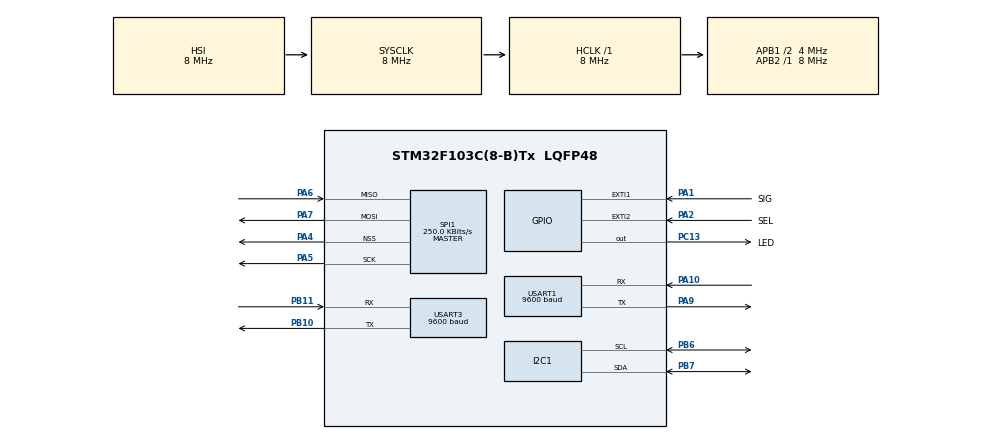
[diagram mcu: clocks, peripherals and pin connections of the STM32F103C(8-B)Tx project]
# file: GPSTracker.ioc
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Dma.Request0=USART1_RX
Dma.USART1_RX.0.Direction=DMA_PERIPH_TO_MEMORY
Dma.USART1_RX.0.Instance=DMA1_Channel5
Dma.USART1_RX.0.MemDataAlignment=DMA_MDATAALIGN_BYTE
Dma.USART1_RX.0.MemInc=DMA_MINC_ENABLE
Dma.USART1_RX.0.Mode=DMA_NORMAL
Dma.USART1_RX.0.PeriphDataAlignment=DMA_PDATAALIGN_BYTE
Dma.USART1_RX.0.PeriphInc=DMA_PINC_DISABLE
Dma.USART1_RX.0.Priority=DMA_PRIORITY_HIGH
FATFS._MAX_SS=4096
FATFS._USE_LFN=1
I2C1.I2C_Mode=I2C_Fast
Mcu.Family=STM32F1
Mcu.Name=STM32F103C(8-B)Tx
Mcu.Package=LQFP48
NVIC.DMA1_Channel5_IRQn=true\:0\:0\:false\:false\:true\:false\:true\:true
NVIC.EXTI1_IRQn=true\:1\:0\:true\:false\:true\:true\:true\:true
NVIC.EXTI2_IRQn=true\:1\:0\:true\:false\:true\:true\:true\:true
NVIC.PriorityGroup=NVIC_PRIORITYGROUP_4
NVIC.TIM3_IRQn=true\:0\:0\:true\:false\:true\:true\:true\:true
NVIC.USART1_IRQn=true\:0\:0\:false\:false\:true\:true\:true\:true
PA1.GPIO_Label=SIG
PA1.GPIO_ModeDefaultEXTI=GPIO_MODE_IT_RISING_FALLING
PA1.GPIO_PuPd=GPIO_NOPULL
PA1.Signal=GPXTI1
PA10.Mode=Asynchronous
PA10.Signal=USART1_RX
PA13.Mode=Serial_Wire
PA13.Signal=SYS_JTMS-SWDIO
PA14.Mode=Serial_Wire
PA14.Signal=SYS_JTCK-SWCLK
PA2.GPIO_Label=SEL
PA2.GPIO_ModeDefaultEXTI=GPIO_MODE_IT_RISING_FALLING
PA2.GPIO_PuPd=GPIO_NOPULL
PA2.Signal=GPXTI2
PA4.Mode=NSS_Signal_Hard_Output
PA4.Signal=SPI1_NSS
PA5.Mode=Full_Duplex_Master
PA5.Signal=SPI1_SCK
PA6.Mode=Full_Duplex_Master
PA6.Signal=SPI1_MISO
PA7.Mode=Full_Duplex_Master
PA7.Signal=SPI1_MOSI
PA9.Mode=Asynchronous
PA9.Signal=USART1_TX
PB10.Mode=Asynchronous
PB10.Signal=USART3_TX
PB11.Mode=Asynchronous
PB11.Signal=USART3_RX
PB6.GPIO_Pu=GPIO_PULLUP
PB6.Mode=I2C
PB6.Signal=I2C1_SCL
PB7.GPIO_Pu=GPIO_PULLUP
PB7.Mode=I2C
PB7.Signal=I2C1_SDA
PC13-TAMPER-RTC.GPIO_Label=LED
PC13-TAMPER-RTC.PinState=GPIO_PIN_SET
PC13-TAMPER-RTC.Signal=GPIO_Output
ProjectManager.HeapSize=0x200
ProjectManager.StackSize=0x400
ProjectManager.TargetToolchain=STM32CubeIDE
RCC.AHBFreq_Value=8000000
RCC.APB1CLKDivider=RCC_HCLK_DIV2
RCC.APB1Freq_Value=4000000
RCC.APB1TimFreq_Value=8000000
RCC.APB2Freq_Value=8000000
RCC.APB2TimFreq_Value=8000000
RCC.HCLKFreq_Value=8000000
RCC.PLLMUL=RCC_PLL_MUL9
RCC.SYSCLKFreq_VALUE=8000000
RCC.USBFreq_Value=36000000
RTC.Format=RTC_FORMAT_BIN
RTC.WeekDay=RTC_WEEKDAY_FRIDAY
RTC.Year=21
SPI1.BaudRatePrescaler=SPI_BAUDRATEPRESCALER_32
SPI1.CalculateBaudRate=250.0 KBits/s
SPI1.Direction=SPI_DIRECTION_2LINES
SPI1.Mode=SPI_MODE_MASTER
SPI1.VirtualNSS=VM_NSSHARD
SPI1.VirtualType=VM_MASTER
TIM3.AutoReloadPreload=TIM_AUTORELOAD_PRELOAD_ENABLE
TIM3.Period=1000
TIM3.Prescaler=10000
USART1.BaudRate=9600
USART1.VirtualMode=VM_ASYNC
USART3.BaudRate=9600
USART3.VirtualMode=VM_ASYNC
VP_FATFS_VS_Generic.Mode=User_defined
VP_RTC_No_RTC_Output.Mode=RTC_OUT_NO
VP_RTC_VS_RTC_Activate.Mode=RTC_Enabled
VP_RTC_VS_RTC_Calendar.Mode=RTC_Calendar
VP_TIM3_VS_ClockSourceINT.Mode=Internal
board=custom

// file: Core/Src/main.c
/* USER CODE BEGIN Header */
/**
  ******************************************************************************
  * @file           : main.c
  * @brief          : Main program body
  ******************************************************************************
  * @attention
  *
  * <h2><center>&copy; Copyright (c) 2021 STMicroelectronics.
  * All rights reserved.</center></h2>
  *
  * This software component is licensed by ST under Ultimate Liberty license
  * SLA0044, the "License"; You may not use this file except in compliance with
  * the License. You may obtain a copy of the License at:
  *                             www.st.com/SLA0044
  *
  ******************************************************************************
  */
/* USER CODE END Header */
#include "main.h"
#include "fatfs.h"

/* USER CODE BEGIN Includes */
#include "GPS/GPSmodel.h"
#include "GPS/GPScontroller.h"
#include "oled/Screens.h"

//#include "fatfs_sd.h"
//#include "SDlogging.h"

#include <string.h>
#include <stdlib.h>
#include <stdio.h>
/* USER CODE END Includes */

/* USER CODE BEGIN PD */
#define UART1 &huart1
#define I2C_ADDRESS 0x3C
#define LONG_TIME_PRESS 3000

#define SIG_BUTTON 1U
#define SEL_BUTTON 2U
//#undef DEBUG
/* USER CODE END PD */

 I2C_HandleTypeDef hi2c1;

RTC_HandleTypeDef hrtc;

SPI_HandleTypeDef hspi1;

TIM_HandleTypeDef htim3;

UART_HandleTypeDef huart1;
UART_HandleTypeDef huart3;
DMA_HandleTypeDef hdma_usart1_rx;

/* USER CODE BEGIN PV */
/*struct Stat {
    uint8_t powerSave : 1;
    uint8_t number : 3;
    uint8_t time_updated : 1;
	uint8_t date_updated : 1;
	uint8_t GPSupdated : 1;
	uint8_t button_pressed : 1;
}Status;*/

volatile uint8_t usart_rx_dma_buffer[MAX_NMEA_LEN];
uint8_t copy_buffer[MAX_NMEA_LEN];
volatile uint32_t timePress;

uint8_t recording = 0;
uint8_t new_data = 0;
uint16_t new_data_size = 0;
uint8_t screen_number;
uint8_t GPSupdated = 0;
uint8_t screen_power = 0;
uint8_t button_pressed=0;
uint8_t refresh_screen =1;

//u8x8_t u8x8;                    // u8x8 object
u8g2_t u8g2;
GPSdata gps;
/* USER CODE END PV */

void SystemClock_Config(void);
static void MX_GPIO_Init(void);
static void MX_DMA_Init(void);
static void MX_I2C1_Init(void);
static void MX_USART1_UART_Init(void);
static void MX_RTC_Init(void);
static void MX_SPI1_Init(void);
static void MX_USART3_UART_Init(void);
static void MX_TIM3_Init(void);

/* USER CODE BEGIN 0 */

void start_recording( )
{
#ifdef DEBUG
	HAL_UART_Transmit(&huart3, (uint8_t *)"***recording***\r\n",
						strlen("***recording***\r\n"),1000);
#endif
	recording = 1;
	/* when it's recording only wakes up for
	 * saving data
	 */
	screen_power = 1;
	u8g2_SetPowerSave(&u8g2, screen_power);
	HAL_TIM_Base_Stop_IT(&htim3);
	//HAL_PWR_EnableSleepOnExit ();
	//HAL_PWR_EnterSLEEPMode(PWR_LOWPOWERREGULATOR_ON, PWR_SLEEPENTRY_WFI);
}

void stop_recording( )
{
#ifdef DEBUG
	HAL_UART_Transmit(&huart3, (uint8_t *)"***notrecording***\r\n",
						strlen("***notrecording***\r\n"),1000);
#endif
	recording = 0;
	/* when it's recording only wakes up for
	 * saving data
	 */
	screen_power = 0;
	u8g2_SetPowerSave(&u8g2, screen_power);
	HAL_TIM_Base_Start_IT(&htim3);
}

/* TIM IT handler*/
void HAL_TIM_PeriodElapsedCallback(TIM_HandleTypeDef *htim)
{
#ifdef DEBUG
	HAL_UART_Transmit(&huart3, (uint8_t *)"***ENTER TIM***\r\n",
						strlen("***ENTER TIM***\r\n"),1000);
#endif

	refresh_screen = 1;
#ifdef DEBUG
	HAL_UART_Transmit(&huart3, (uint8_t *)"***EXIT TIM***\r\n\r\n",
						strlen("***EXIT TIM***\r\n\r\n"),1000);
#endif
}

void HAL_UARTEx_RxEventCallback(UART_HandleTypeDef *huart, uint16_t Size)
{
	if (huart->Instance == USART1)
	{

#ifdef DEBUG
	HAL_UART_Transmit(&huart3, (uint8_t *)"***ENTER IT_RXIDLE***\r\n",
						strlen("***ENTER IT_RXIDLE***\r\n"),1000);
	//HAL_UART_Transmit(&huart3, usart_rx_dma_buffer, Size,1000);
#endif
	new_data = 1;
	new_data_size = Size;
	memcpy(copy_buffer, usart_rx_dma_buffer, new_data_size);

#ifdef DEBUG
	HAL_UART_Transmit(&huart3, (uint8_t *)"***EXIT IT_RXIDLE***\r\n\r\n",
						strlen("***EXIT IT_RXIDLE***\r\n\r\n"),1000);
#endif

		HAL_UARTEx_ReceiveToIdle_DMA(&huart1, usart_rx_dma_buffer, MAX_NMEA_LEN);	//Configure DMA
	  	__HAL_DMA_DISABLE_IT(&hdma_usart1_rx, DMA_IT_HT);
	}

}

void HAL_GPIO_EXTI_Callback(uint16_t GPIO_Pin)
{
#ifdef DEBUG
	HAL_UART_Transmit(&huart3, (uint8_t *)"***ENTER EXTI***\r\n",
						strlen("***ENTER EXTI***\r\n"),1000);
#endif

	/* waits until chack_buttons functions clears the event */
	if ( button_pressed && !recording) return;

	/* if the button is pressed, stores ti ticks at that time */
	if (HAL_GPIO_ReadPin(GPIOA,GPIO_Pin) == GPIO_PIN_RESET )
	{
		timePress = HAL_GetTick();
		return;
	}

	/* when the button is release, meassures de time difference */
	timePress = HAL_GetTick() - timePress;

	switch(GPIO_Pin)
	{
		case SIG_Pin:
			button_pressed = SIG_BUTTON;
			break;

		case SEL_Pin:
			button_pressed = SEL_BUTTON;
			HAL_PWR_DisableSleepOnExit ();
			break;
	}
#ifdef DEBUG
	HAL_UART_Transmit(&huart3, (uint8_t *)"***EXIT EXTI***\r\n\r\n",
						strlen("***EXIT EXTI***\r\n\r\n"),1000);
#endif
}

void check_buttons()
{
	switch(button_pressed)
	{
		case SIG_BUTTON:
			if( timePress < LONG_TIME_PRESS )
				screen_number == 1 ? screen_number = 0 : screen_number++;
			else
			{
				screen_power ^= 1 << 1;
				u8g2_SetPowerSave(&u8g2, screen_power);
			}
			break;

		case SEL_BUTTON:
			if(recording)
			{
				stop_recording();
			}
			else
			{
				start_recording();
			}
			break;
	}
	button_pressed = 0;
}

/**
  * @brief  Init and setup Sreen, GPS, SD.
  * @retval -
  */
void Setup()
{
	initScreen(&u8g2); // Screen init, clear, home screen set

	initGPS(&gps);	// Initialize default values for gps object

}

/* USER CODE END 0 */

int main(void)
{

  /* MCU Configuration--------------------------------------------------------*/

  /* Reset of all peripherals, Initializes the Flash interface and the Systick. */

	HAL_Init();

  /* Configure the system clock */
  SystemClock_Config();

  /* Initialize all configured peripherals */
  MX_GPIO_Init();
  MX_DMA_Init();
  MX_I2C1_Init();
  MX_USART1_UART_Init();
  MX_RTC_Init();
  MX_FATFS_Init();
  MX_SPI1_Init();
  MX_USART3_UART_Init();
  MX_TIM3_Init();
  /* USER CODE BEGIN 2 */

  /*Setup GPS model, OLED and SD*/
  Setup();

  /*Manual peripherial config*/
  HAL_UARTEx_ReceiveToIdle_DMA(&huart1, usart_rx_dma_buffer, MAX_NMEA_LEN);	//Configure DMA
  __HAL_DMA_DISABLE_IT(&hdma_usart1_rx, DMA_IT_HT);
  HAL_TIM_Base_Start_IT(&htim3);	//Configure TIM3 for OLED update

  /* USER CODE END 2 */

  /* Infinite loop */
  /* USER CODE BEGIN WHILE */
  //HAL_SuspendTick();
  //HAL_PWR_EnableSleepOnExit ();
  //HAL_PWR_EnterSLEEPMode(PWR_LOWPOWERREGULATOR_ON, PWR_SLEEPENTRY_WFI);

  while (1)
  {
	  if (new_data)
	  {
		  new_data = 0;
#ifdef DEBUG
		  HAL_UART_Transmit(&huart3, (uint8_t *)"***new_data***\r\n\r\n",
							strlen("***new_data***\r\n\r\n"),1000);
#endif

		  /* copies DMA buffer in to local buffer */

		  copy_buffer[new_data_size] = '\0'; // adds an EOS

		  /* updates data */
#ifdef DEBUG
		  HAL_UART_Transmit(&huart3, (uint8_t *)"***updateGPS***\r\n\r\n",
							strlen("***updateGPS***\r\n\r\n"),1000);
#endif
		  updateGPS(&gps, copy_buffer, &new_data_size);
		  GPSupdated = 1;
#ifdef DEBUG
		  HAL_UART_Transmit(&huart3, (uint8_t *)"***updateDateTime***\r\n\r\n",
							strlen("***updateDateTime***\r\n\r\n"),1000);
#endif
		  updateDateTime( &hrtc, copy_buffer, &new_data_size);
	  }

	  if ( recording )
	  {
		  /* Is there new position info?*/
		  if( GPSupdated )
		  {
#ifdef DEBUG
			  HAL_UART_Transmit(&huart3, (uint8_t *)"***log_data***\r\n\r\n",
			  							strlen("***log_data***\r\n\r\n"),1000);
#endif
			  //HAL_NVIC_DisableIRQ(DMA1_Channel5_IRQn);
			  log_data(&gps, &hrtc);	// Saves data in SD
			  GPSupdated = 0;
			  //HAL_NVIC_EnableIRQ(DMA1_Channel5_IRQn);

			  //HAL_UART_Transmit(&huart3, (uint8_t *)"***__enable_irq***\r\n\r\n",
			  //			  							strlen("***__enable_irq***\r\n\r\n"),1000);
		  }
		  //HAL_PWR_EnterSLEEPMode(PWR_LOWPOWERREGULATOR_ON, PWR_SLEEPENTRY_WFI);
	  }

	  if (refresh_screen && !screen_power)
	  {
		  refresh_screen =0;
		  __disable_irq();
#ifdef DEBUG
		  HAL_UART_Transmit(&huart3, (uint8_t *)"***refresh_screen***\r\n\r\n",
								strlen("***refresh_screen***\r\n\r\n"),1000);
#endif
		  updateScreen();	// Screen update
		  __enable_irq();
	  }

	  check_buttons();
	  HAL_PWR_EnterSLEEPMode(PWR_LOWPOWERREGULATOR_ON, PWR_SLEEPENTRY_WFI);
    /* USER CODE END WHILE */

  }
}

void SystemClock_Config(void)
{
  RCC_OscInitTypeDef RCC_OscInitStruct = {0};
  RCC_ClkInitTypeDef RCC_ClkInitStruct = {0};
  RCC_PeriphCLKInitTypeDef PeriphClkInit = {0};

  /** Initializes the RCC Oscillators according to the specified parameters
  * in the RCC_OscInitTypeDef structure.
  */
  RCC_OscInitStruct.OscillatorType = RCC_OSCILLATORTYPE_HSI|RCC_OSCILLATORTYPE_LSI;
  RCC_OscInitStruct.HSIState = RCC_HSI_ON;
  RCC_OscInitStruct.HSICalibrationValue = RCC_HSICALIBRATION_DEFAULT;
  RCC_OscInitStruct.LSIState = RCC_LSI_ON;
  RCC_OscInitStruct.PLL.PLLState = RCC_PLL_NONE;
  if (HAL_RCC_OscConfig(&RCC_OscInitStruct) != HAL_OK)
  {
    Error_Handler();
  }

  /** Initializes the CPU, AHB and APB buses clocks
  */
  RCC_ClkInitStruct.ClockType = RCC_CLOCKTYPE_HCLK|RCC_CLOCKTYPE_SYSCLK
                              |RCC_CLOCKTYPE_PCLK1|RCC_CLOCKTYPE_PCLK2;
  RCC_ClkInitStruct.SYSCLKSource = RCC_SYSCLKSOURCE_HSI;
  RCC_ClkInitStruct.AHBCLKDivider = RCC_SYSCLK_DIV1;
  RCC_ClkInitStruct.APB1CLKDivider = RCC_HCLK_DIV2;
  RCC_ClkInitStruct.APB2CLKDivider = RCC_HCLK_DIV1;

  if (HAL_RCC_ClockConfig(&RCC_ClkInitStruct, FLASH_LATENCY_0) != HAL_OK)
  {
    Error_Handler();
  }
  PeriphClkInit.PeriphClockSelection = RCC_PERIPHCLK_RTC;
  PeriphClkInit.RTCClockSelection = RCC_RTCCLKSOURCE_LSI;
  if (HAL_RCCEx_PeriphCLKConfig(&PeriphClkInit) != HAL_OK)
  {
    Error_Handler();
  }
}

static void MX_I2C1_Init(void)
{

  hi2c1.Instance = I2C1;
  hi2c1.Init.ClockSpeed = 400000;
  hi2c1.Init.DutyCycle = I2C_DUTYCYCLE_2;
  hi2c1.Init.OwnAddress1 = 0;
  hi2c1.Init.AddressingMode = I2C_ADDRESSINGMODE_7BIT;
  hi2c1.Init.DualAddressMode = I2C_DUALADDRESS_DISABLE;
  hi2c1.Init.OwnAddress2 = 0;
  hi2c1.Init.GeneralCallMode = I2C_GENERALCALL_DISABLE;
  hi2c1.Init.NoStretchMode = I2C_NOSTRETCH_DISABLE;
  if (HAL_I2C_Init(&hi2c1) != HAL_OK)
  {
    Error_Handler();
  }

}

static void MX_RTC_Init(void)
{

  RTC_TimeTypeDef sTime = {0};
  RTC_DateTypeDef DateToUpdate = {0};

  /** Initialize RTC Only
  */
  hrtc.Instance = RTC;
  hrtc.Init.AsynchPrediv = RTC_AUTO_1_SECOND;
  hrtc.Init.OutPut = RTC_OUTPUTSOURCE_NONE;
  if (HAL_RTC_Init(&hrtc) != HAL_OK)
  {
    Error_Handler();
  }

  /** Initialize RTC and set the Time and Date
  */
  sTime.Hours = 0;
  sTime.Minutes = 0;
  sTime.Seconds = 0;

  if (HAL_RTC_SetTime(&hrtc, &sTime, RTC_FORMAT_BIN) != HAL_OK)
  {
    Error_Handler();
  }
  DateToUpdate.WeekDay = RTC_WEEKDAY_FRIDAY;
  DateToUpdate.Month = RTC_MONTH_JANUARY;
  DateToUpdate.Date = 1;
  DateToUpdate.Year = 21;

  if (HAL_RTC_SetDate(&hrtc, &DateToUpdate, RTC_FORMAT_BIN) != HAL_OK)
  {
    Error_Handler();
  }
  /* USER CODE BEGIN RTC_Init 2 */
  /*
	RTC_AlarmTypeDef Alarm;
	Alarm.Alarm = RTC_ALARM_A;
	HAL_RTC_GetTime(&hrtc, &(Alarm.AlarmTime), RTC_FORMAT_BIN);
	Alarm.AlarmTime.Minutes += 1;
	HAL_RTC_SetAlarm_IT (&hrtc, &Alarm, RTC_FORMAT_BIN);
  __HAL_RTC_ALARM_EXTI_ENABLE_IT();
  __HAL_RTC_ALARM_ENABLE_IT(&hrtc,RTC_IT_ALRA);*/
  /* USER CODE END RTC_Init 2 */

}

static void MX_SPI1_Init(void)
{

  /* SPI1 parameter configuration*/
  hspi1.Instance = SPI1;
  hspi1.Init.Mode = SPI_MODE_MASTER;
  hspi1.Init.Direction = SPI_DIRECTION_2LINES;
  hspi1.Init.DataSize = SPI_DATASIZE_8BIT;
  hspi1.Init.CLKPolarity = SPI_POLARITY_LOW;
  hspi1.Init.CLKPhase = SPI_PHASE_1EDGE;
  hspi1.Init.NSS = SPI_NSS_HARD_OUTPUT;
  hspi1.Init.BaudRatePrescaler = SPI_BAUDRATEPRESCALER_32;
  hspi1.Init.FirstBit = SPI_FIRSTBIT_MSB;
  hspi1.Init.TIMode = SPI_TIMODE_DISABLE;
  hspi1.Init.CRCCalculation = SPI_CRCCALCULATION_DISABLE;
  hspi1.Init.CRCPolynomial = 10;
  if (HAL_SPI_Init(&hspi1) != HAL_OK)
  {
    Error_Handler();
  }

}

static void MX_TIM3_Init(void)
{

  TIM_ClockConfigTypeDef sClockSourceConfig = {0};
  TIM_MasterConfigTypeDef sMasterConfig = {0};

  htim3.Instance = TIM3;
  htim3.Init.Prescaler = 10000;
  htim3.Init.CounterMode = TIM_COUNTERMODE_UP;
  htim3.Init.Period = 1000;
  htim3.Init.ClockDivision = TIM_CLOCKDIVISION_DIV1;
  htim3.Init.AutoReloadPreload = TIM_AUTORELOAD_PRELOAD_ENABLE;
  if (HAL_TIM_Base_Init(&htim3) != HAL_OK)
  {
    Error_Handler();
  }
  sClockSourceConfig.ClockSource = TIM_CLOCKSOURCE_INTERNAL;
  if (HAL_TIM_ConfigClockSource(&htim3, &sClockSourceConfig) != HAL_OK)
  {
    Error_Handler();
  }
  sMasterConfig.MasterOutputTrigger = TIM_TRGO_RESET;
  sMasterConfig.MasterSlaveMode = TIM_MASTERSLAVEMODE_DISABLE;
  if (HAL_TIMEx_MasterConfigSynchronization(&htim3, &sMasterConfig) != HAL_OK)
  {
    Error_Handler();
  }

}

static void MX_USART1_UART_Init(void)
{

  huart1.Instance = USART1;
  huart1.Init.BaudRate = 9600;
  huart1.Init.WordLength = UART_WORDLENGTH_8B;
  huart1.Init.StopBits = UART_STOPBITS_1;
  huart1.Init.Parity = UART_PARITY_NONE;
  huart1.Init.Mode = UART_MODE_TX_RX;
  huart1.Init.HwFlowCtl = UART_HWCONTROL_NONE;
  huart1.Init.OverSampling = UART_OVERSAMPLING_16;
  if (HAL_UART_Init(&huart1) != HAL_OK)
  {
    Error_Handler();
  }

}

static void MX_USART3_UART_Init(void)
{

  huart3.Instance = USART3;
  huart3.Init.BaudRate = 9600;
  huart3.Init.WordLength = UART_WORDLENGTH_8B;
  huart3.Init.StopBits = UART_STOPBITS_1;
  huart3.Init.Parity = UART_PARITY_NONE;
  huart3.Init.Mode = UART_MODE_TX_RX;
  huart3.Init.HwFlowCtl = UART_HWCONTROL_NONE;
  huart3.Init.OverSampling = UART_OVERSAMPLING_16;
  if (HAL_UART_Init(&huart3) != HAL_OK)
  {
    Error_Handler();
  }

}

static void MX_DMA_Init(void)
{

  /* DMA controller clock enable */
  __HAL_RCC_DMA1_CLK_ENABLE();

  /* DMA interrupt init */
  /* DMA1_Channel5_IRQn interrupt configuration */
  HAL_NVIC_SetPriority(DMA1_Channel5_IRQn, 0, 0);
  HAL_NVIC_EnableIRQ(DMA1_Channel5_IRQn);

}

static void MX_GPIO_Init(void)
{
  GPIO_InitTypeDef GPIO_InitStruct = {0};

  /* GPIO Ports Clock Enable */
  __HAL_RCC_GPIOC_CLK_ENABLE();
  __HAL_RCC_GPIOA_CLK_ENABLE();
  __HAL_RCC_GPIOB_CLK_ENABLE();

  /*Configure GPIO pin Output Level */
  HAL_GPIO_WritePin(LED_GPIO_Port, LED_Pin, GPIO_PIN_SET);

  /*Configure GPIO pin : LED_Pin */
  GPIO_InitStruct.Pin = LED_Pin;
  GPIO_InitStruct.Mode = GPIO_MODE_OUTPUT_PP;
  GPIO_InitStruct.Pull = GPIO_NOPULL;
  GPIO_InitStruct.Speed = GPIO_SPEED_FREQ_LOW;
  HAL_GPIO_Init(LED_GPIO_Port, &GPIO_InitStruct);

  /*Configure GPIO pins : SIG_Pin SEL_Pin */
  GPIO_InitStruct.Pin = SIG_Pin|SEL_Pin;
  GPIO_InitStruct.Mode = GPIO_MODE_IT_RISING_FALLING;
  GPIO_InitStruct.Pull = GPIO_NOPULL;
  HAL_GPIO_Init(GPIOA, &GPIO_InitStruct);

  /* EXTI interrupt init*/
  HAL_NVIC_SetPriority(EXTI1_IRQn, 1, 0);
  HAL_NVIC_EnableIRQ(EXTI1_IRQn);

  HAL_NVIC_SetPriority(EXTI2_IRQn, 1, 0);
  HAL_NVIC_EnableIRQ(EXTI2_IRQn);

}

void Error_Handler(void)
{
  __disable_irq();
  while (1)
  {
  }
}
